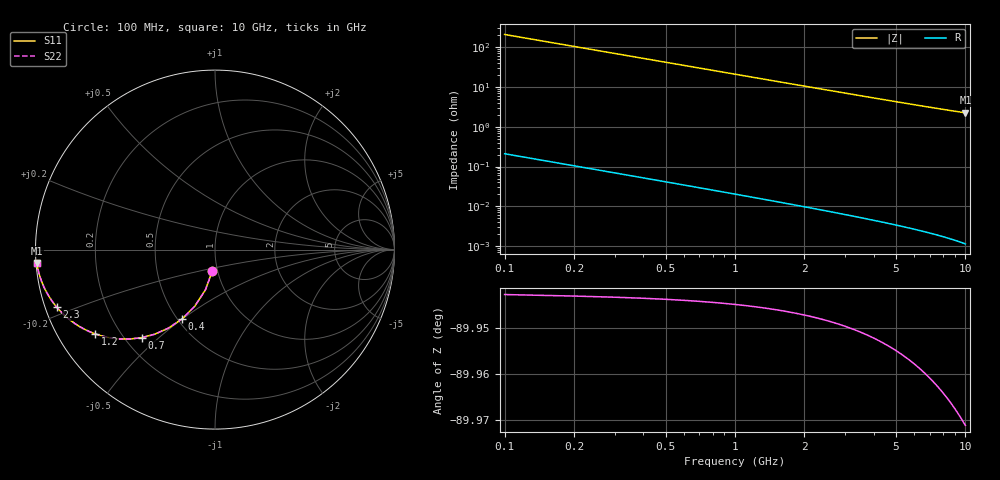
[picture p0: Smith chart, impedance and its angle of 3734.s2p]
# Hz S RI R 50.00
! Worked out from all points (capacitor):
!   100 points, 100 MHz to 10 GHz, reference 50 ohm
!   read as one part in shunt: C = 7.55 pF near 100 MHz
!   lowest |Z| = 2.25 ohm at 10 GHz (marker M1)
!   S11 on the Smith chart (normalised r, x): 100 MHz: 0.95, -0.22; 400 MHz: 0.53, -0.50; 700 MHz: 0.27, -0.44; 1.2 GHz: 0.11, -0.31; 2.3 GHz: 0.03, -0.18; 10 GHz: 0.00, -0.04
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1e8  -0.0139 -0.1169  0.986 -0.117  0.986 -0.117  -0.0139 -0.1169
2e8  -0.0534 -0.2244  0.9465 -0.2246  0.9465 -0.2246  -0.0534 -0.2244
3e8  -0.1126 -0.3154  0.8873 -0.3159  0.8873 -0.3159  -0.1126 -0.3154
4e8  -0.184 -0.3867  0.816 -0.3873  0.816 -0.3873  -0.184 -0.3867
5e8  -0.2604 -0.438  0.7395 -0.4387  0.7395 -0.4387  -0.2604 -0.438
6e8  -0.3363 -0.4715  0.6636 -0.4724  0.6636 -0.4724  -0.3363 -0.4715
7e8  -0.4081 -0.4905  0.5918 -0.4915  0.5918 -0.4915  -0.4081 -0.4905
9e8  -0.5326 -0.4978  0.4673 -0.4991  0.4673 -0.4991  -0.5326 -0.4978
1e9  -0.5844 -0.4916  0.4155 -0.493  0.4155 -0.493  -0.5844 -0.4916
1.2e9  -0.6693 -0.4691  0.3306 -0.4708  0.3306 -0.4708  -0.6693 -0.4691
1.3e9  -0.7037 -0.4551  0.2962 -0.457  0.2962 -0.457  -0.7037 -0.4551
1.5e9  -0.7597 -0.4256  0.2402 -0.4278  0.2402 -0.4278  -0.7597 -0.4256
1.8e9  -0.8199 -0.3825  0.18 -0.385  0.18 -0.385  -0.8199 -0.3825
2e9  -0.8489 -0.3562  0.151 -0.359  0.151 -0.359  -0.8489 -0.3562
2.3e9  -0.8813 -0.3212  0.1186 -0.3245  0.1186 -0.3245  -0.8813 -0.3212
2.8e9  -0.9167 -0.2737  0.0832 -0.2777  0.0832 -0.2777  -0.9167 -0.2737
3.4e9  -0.942 -0.2308  0.0579 -0.2356  0.0579 -0.2356  -0.942 -0.2308
4.2e9  -0.9612 -0.1894  0.0387 -0.1955  0.0387 -0.1955  -0.9612 -0.1894
5.1e9  -0.9734 -0.1565  0.0265 -0.1639  0.0265 -0.1639  -0.9734 -0.1565
6.7e9  -0.9844 -0.118  0.0154 -0.1278  0.0154 -0.1278  -0.9844 -0.118
8.4e9  -0.9901 -0.0918  0.00972 -0.1042  0.00972 -0.1042  -0.9901 -0.0918
1e10  -0.993 -0.0744  0.00675 -0.0894  0.00675 -0.0894  -0.993 -0.0744
